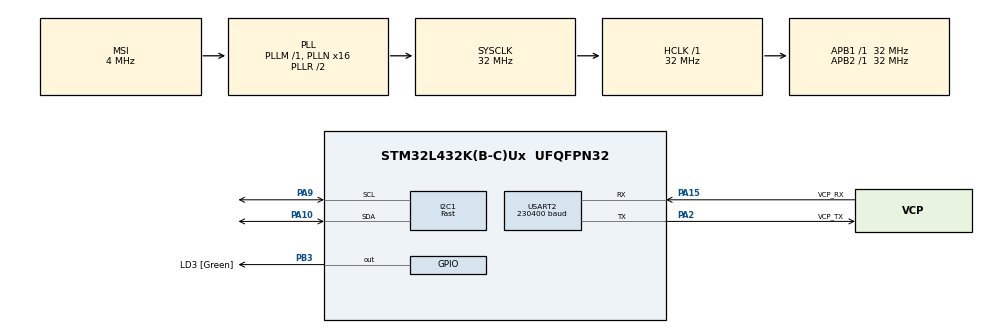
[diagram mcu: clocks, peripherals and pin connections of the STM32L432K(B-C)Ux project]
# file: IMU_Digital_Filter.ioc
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Dma.Request0=USART2_TX
Dma.USART2_TX.0.Direction=DMA_MEMORY_TO_PERIPH
Dma.USART2_TX.0.Instance=DMA1_Channel7
Dma.USART2_TX.0.MemDataAlignment=DMA_MDATAALIGN_BYTE
Dma.USART2_TX.0.MemInc=DMA_MINC_ENABLE
Dma.USART2_TX.0.Mode=DMA_NORMAL
Dma.USART2_TX.0.PeriphDataAlignment=DMA_PDATAALIGN_BYTE
Dma.USART2_TX.0.PeriphInc=DMA_PINC_DISABLE
Dma.USART2_TX.0.Priority=DMA_PRIORITY_LOW
FREERTOS.INCLUDE_vTaskDelayUntil=1
FREERTOS.MEMORY_ALLOCATION=2
FREERTOS.Tasks01=defaultTask,0,128,StartDefaultTask,Default,NULL,Static,defaultTaskBuffer,defaultTaskControlBlock;IMU,0,128,StartIMU,Default,NULL,Static,IMUBuffer,IMUControlBlock;TX,2,128,StartTX,Default,NULL,Static,TXBuffer,TXControlBlock
I2C1.I2C_Speed_Mode=I2C_Fast
I2C1.Timing=0x00300F38
Mcu.Family=STM32L4
Mcu.Name=STM32L432K(B-C)Ux
Mcu.Package=UFQFPN32
NVIC.DMA1_Channel7_IRQn=true\:5\:0\:false\:false\:true\:true\:false
NVIC.I2C1_EV_IRQn=true\:5\:0\:false\:false\:true\:true\:true
NVIC.PriorityGroup=NVIC_PRIORITYGROUP_4
NVIC.TIM1_UP_TIM16_IRQn=true\:0\:0\:false\:false\:true\:false\:false
NVIC.TimeBase=TIM1_UP_TIM16_IRQn
NVIC.TimeBaseIP=TIM1
PA0.GPIO_Label=MCO [High speed clock in]
PA0.Mode=HSE-External-Clock-Source-for-LittleOrca
PA0.Signal=RCC_CK_IN
PA10.Mode=I2C
PA10.Signal=I2C1_SDA
PA13\ (JTMS-SWDIO).GPIO_Label=SWDIO
PA13\ (JTMS-SWDIO).Mode=Serial_Wire
PA13\ (JTMS-SWDIO).Signal=SYS_JTMS-SWDIO
PA14\ (JTCK-SWCLK).GPIO_Label=SWCLK
PA14\ (JTCK-SWCLK).Mode=Serial_Wire
PA14\ (JTCK-SWCLK).Signal=SYS_JTCK-SWCLK
PA15\ (JTDI).GPIO_Label=VCP_RX
PA15\ (JTDI).Mode=Asynchronous
PA15\ (JTDI).Signal=USART2_RX
PA2.GPIO_Label=VCP_TX
PA2.Mode=Asynchronous
PA2.Signal=USART2_TX
PA9.Mode=I2C
PA9.Signal=I2C1_SCL
PB3\ (JTDO-TRACESWO).GPIO_Label=LD3 [Green]
PB3\ (JTDO-TRACESWO).Signal=GPIO_Output
PC14-OSC32_IN\ (PC14).Mode=LSE-External-Oscillator
PC14-OSC32_IN\ (PC14).Signal=RCC_OSC32_IN
PC15-OSC32_OUT\ (PC15).Mode=LSE-External-Oscillator
PC15-OSC32_OUT\ (PC15).Signal=RCC_OSC32_OUT
ProjectManager.HeapSize=0x200
ProjectManager.StackSize=0x400
ProjectManager.TargetToolchain=SW4STM32
RCC.AHBFreq_Value=32000000
RCC.APB1Freq_Value=32000000
RCC.APB1TimFreq_Value=32000000
RCC.APB2Freq_Value=32000000
RCC.APB2TimFreq_Value=32000000
RCC.CortexFreq_Value=32000000
RCC.HCLKFreq_Value=32000000
RCC.HSE_VALUE=8000000
RCC.HSI16_VALUE=16000000
RCC.HSI48_VALUE=48000000
RCC.HSI_VALUE=16000000
RCC.MSI_VALUE=4000000
RCC.PLLMUL=RCC_PLLMUL_4
RCC.PLLN=16
RCC.SYSCLKFreq_VALUE=32000000
RCC.SYSCLKSource=RCC_SYSCLKSOURCE_PLLCLK
RCC.VCOOutputFreq_Value=64000000
USART2.BaudRate=230400
USART2.VirtualMode-Asynchronous=VM_ASYNC
VP_FREERTOS_VS_ENABLE.Mode=Enabled
VP_SYS_VS_tim1.Mode=TIM1
board=NUCLEO-L432KC

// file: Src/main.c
/**
  ******************************************************************************
  * @file           : main.c
  * @brief          : Main program body
  ******************************************************************************
  * This notice applies to any and all portions of this file
  * that are not between comment pairs USER CODE BEGIN and
  * USER CODE END. Other portions of this file, whether
  * inserted by the user or by software development tools
  * are owned by their respective copyright owners.
  *
  * Copyright (c) 2018 STMicroelectronics International N.V.
  * All rights reserved.
  *
  * Redistribution and use in source and binary forms, with or without
  * modification, are permitted, provided that the following conditions are met:
  *
  * 1. Redistribution of source code must retain the above copyright notice,
  *    this list of conditions and the following disclaimer.
  * 2. Redistributions in binary form must reproduce the above copyright notice,
  *    this list of conditions and the following disclaimer in the documentation
  *    and/or other materials provided with the distribution.
  * 3. Neither the name of STMicroelectronics nor the names of other
  *    contributors to this software may be used to endorse or promote products
  *    derived from this software without specific written permission.
  * 4. This software, including modifications and/or derivative works of this
  *    software, must execute solely and exclusively on microcontroller or
  *    microprocessor devices manufactured by or for STMicroelectronics.
  * 5. Redistribution and use of this software other than as permitted under
  *    this license is void and will automatically terminate your rights under
  *    this license.
  *
  * THIS SOFTWARE IS PROVIDED BY STMICROELECTRONICS AND CONTRIBUTORS "AS IS"
  * AND ANY EXPRESS, IMPLIED OR STATUTORY WARRANTIES, INCLUDING, BUT NOT
  * LIMITED TO, THE IMPLIED WARRANTIES OF MERCHANTABILITY, FITNESS FOR A
  * PARTICULAR PURPOSE AND NON-INFRINGEMENT OF THIRD PARTY INTELLECTUAL PROPERTY
  * RIGHTS ARE DISCLAIMED TO THE FULLEST EXTENT PERMITTED BY LAW. IN NO EVENT
  * SHALL STMICROELECTRONICS OR CONTRIBUTORS BE LIABLE FOR ANY DIRECT, INDIRECT,
  * INCIDENTAL, SPECIAL, EXEMPLARY, OR CONSEQUENTIAL DAMAGES (INCLUDING, BUT NOT
  * LIMITED TO, PROCUREMENT OF SUBSTITUTE GOODS OR SERVICES; LOSS OF USE, DATA,
  * OR PROFITS; OR BUSINESS INTERRUPTION) HOWEVER CAUSED AND ON ANY THEORY OF
  * LIABILITY, WHETHER IN CONTRACT, STRICT LIABILITY, OR TORT (INCLUDING
  * NEGLIGENCE OR OTHERWISE) ARISING IN ANY WAY OUT OF THE USE OF THIS SOFTWARE,
  * EVEN IF ADVISED OF THE POSSIBILITY OF SUCH DAMAGE.
  *
  ******************************************************************************
  */
#include "main.h"
#include "stm32l4xx_hal.h"
#include "cmsis_os.h"
#include "dma.h"
#include "i2c.h"
#include "usart.h"
#include "gpio.h"

/* USER CODE BEGIN PV */
/* Private variables ---------------------------------------------------------*/

/* USER CODE END PV */

void SystemClock_Config(void);
void MX_FREERTOS_Init(void);

/* USER CODE BEGIN PFP */
/* Private function prototypes -----------------------------------------------*/

/* USER CODE END PFP */

int main(void)
{

  /* MCU Configuration----------------------------------------------------------*/

  /* Reset of all peripherals, Initializes the Flash interface and the Systick. */
  HAL_Init();

  /* Configure the system clock */
  SystemClock_Config();

  /* Initialize all configured peripherals */
  MX_GPIO_Init();
  MX_DMA_Init();
  MX_USART2_UART_Init();
  MX_I2C1_Init();

  /* Call init function for freertos objects (in freertos.c) */
  MX_FREERTOS_Init();

  /* Start scheduler */
  osKernelStart();

  /* We should never get here as control is now taken by the scheduler */

  /* Infinite loop */
  while (1)
  {

  }

}

void SystemClock_Config(void)
{

  RCC_OscInitTypeDef RCC_OscInitStruct;
  RCC_ClkInitTypeDef RCC_ClkInitStruct;
  RCC_PeriphCLKInitTypeDef PeriphClkInit;

    /**Configure LSE Drive Capability
    */
  HAL_PWR_EnableBkUpAccess();

  __HAL_RCC_LSEDRIVE_CONFIG(RCC_LSEDRIVE_LOW);

    /**Initializes the CPU, AHB and APB busses clocks
    */
  RCC_OscInitStruct.OscillatorType = RCC_OSCILLATORTYPE_LSE|RCC_OSCILLATORTYPE_MSI;
  RCC_OscInitStruct.LSEState = RCC_LSE_ON;
  RCC_OscInitStruct.MSIState = RCC_MSI_ON;
  RCC_OscInitStruct.MSICalibrationValue = 0;
  RCC_OscInitStruct.MSIClockRange = RCC_MSIRANGE_6;
  RCC_OscInitStruct.PLL.PLLState = RCC_PLL_ON;
  RCC_OscInitStruct.PLL.PLLSource = RCC_PLLSOURCE_MSI;
  RCC_OscInitStruct.PLL.PLLM = 1;
  RCC_OscInitStruct.PLL.PLLN = 16;
  RCC_OscInitStruct.PLL.PLLP = RCC_PLLP_DIV7;
  RCC_OscInitStruct.PLL.PLLQ = RCC_PLLQ_DIV2;
  RCC_OscInitStruct.PLL.PLLR = RCC_PLLR_DIV2;
  if (HAL_RCC_OscConfig(&RCC_OscInitStruct) != HAL_OK)
  {
    _Error_Handler(__FILE__, __LINE__);
  }

    /**Initializes the CPU, AHB and APB busses clocks
    */
  RCC_ClkInitStruct.ClockType = RCC_CLOCKTYPE_HCLK|RCC_CLOCKTYPE_SYSCLK
                              |RCC_CLOCKTYPE_PCLK1|RCC_CLOCKTYPE_PCLK2;
  RCC_ClkInitStruct.SYSCLKSource = RCC_SYSCLKSOURCE_PLLCLK;
  RCC_ClkInitStruct.AHBCLKDivider = RCC_SYSCLK_DIV1;
  RCC_ClkInitStruct.APB1CLKDivider = RCC_HCLK_DIV1;
  RCC_ClkInitStruct.APB2CLKDivider = RCC_HCLK_DIV1;

  if (HAL_RCC_ClockConfig(&RCC_ClkInitStruct, FLASH_LATENCY_1) != HAL_OK)
  {
    _Error_Handler(__FILE__, __LINE__);
  }

  PeriphClkInit.PeriphClockSelection = RCC_PERIPHCLK_USART2|RCC_PERIPHCLK_I2C1;
  PeriphClkInit.Usart2ClockSelection = RCC_USART2CLKSOURCE_PCLK1;
  PeriphClkInit.I2c1ClockSelection = RCC_I2C1CLKSOURCE_PCLK1;
  if (HAL_RCCEx_PeriphCLKConfig(&PeriphClkInit) != HAL_OK)
  {
    _Error_Handler(__FILE__, __LINE__);
  }

    /**Configure the main internal regulator output voltage
    */
  if (HAL_PWREx_ControlVoltageScaling(PWR_REGULATOR_VOLTAGE_SCALE1) != HAL_OK)
  {
    _Error_Handler(__FILE__, __LINE__);
  }

    /**Configure the Systick interrupt time
    */
  HAL_SYSTICK_Config(HAL_RCC_GetHCLKFreq()/1000);

    /**Configure the Systick
    */
  HAL_SYSTICK_CLKSourceConfig(SYSTICK_CLKSOURCE_HCLK);

    /**Enable MSI Auto calibration
    */
  HAL_RCCEx_EnableMSIPLLMode();

  /* SysTick_IRQn interrupt configuration */
  HAL_NVIC_SetPriority(SysTick_IRQn, 15, 0);
}

void HAL_TIM_PeriodElapsedCallback(TIM_HandleTypeDef *htim)
{
  if (htim->Instance == TIM1) {
    HAL_IncTick();
  }
}

void _Error_Handler(char *file, int line)
{
  while(1)
  {
  }
}

/************************ (C) COPYRIGHT STMicroelectronics *****END OF FILE****/

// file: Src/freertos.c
/**
  ******************************************************************************
  * File Name          : freertos.c
  * Description        : Code for freertos applications
  ******************************************************************************
  * This notice applies to any and all portions of this file
  * that are not between comment pairs USER CODE BEGIN and
  * USER CODE END. Other portions of this file, whether
  * inserted by the user or by software development tools
  * are owned by their respective copyright owners.
  *
  * Copyright (c) 2018 STMicroelectronics International N.V.
  * All rights reserved.
  *
  * Redistribution and use in source and binary forms, with or without
  * modification, are permitted, provided that the following conditions are met:
  *
  * 1. Redistribution of source code must retain the above copyright notice,
  *    this list of conditions and the following disclaimer.
  * 2. Redistributions in binary form must reproduce the above copyright notice,
  *    this list of conditions and the following disclaimer in the documentation
  *    and/or other materials provided with the distribution.
  * 3. Neither the name of STMicroelectronics nor the names of other
  *    contributors to this software may be used to endorse or promote products
  *    derived from this software without specific written permission.
  * 4. This software, including modifications and/or derivative works of this
  *    software, must execute solely and exclusively on microcontroller or
  *    microprocessor devices manufactured by or for STMicroelectronics.
  * 5. Redistribution and use of this software other than as permitted under
  *    this license is void and will automatically terminate your rights under
  *    this license.
  *
  * THIS SOFTWARE IS PROVIDED BY STMICROELECTRONICS AND CONTRIBUTORS "AS IS"
  * AND ANY EXPRESS, IMPLIED OR STATUTORY WARRANTIES, INCLUDING, BUT NOT
  * LIMITED TO, THE IMPLIED WARRANTIES OF MERCHANTABILITY, FITNESS FOR A
  * PARTICULAR PURPOSE AND NON-INFRINGEMENT OF THIRD PARTY INTELLECTUAL PROPERTY
  * RIGHTS ARE DISCLAIMED TO THE FULLEST EXTENT PERMITTED BY LAW. IN NO EVENT
  * SHALL STMICROELECTRONICS OR CONTRIBUTORS BE LIABLE FOR ANY DIRECT, INDIRECT,
  * INCIDENTAL, SPECIAL, EXEMPLARY, OR CONSEQUENTIAL DAMAGES (INCLUDING, BUT NOT
  * LIMITED TO, PROCUREMENT OF SUBSTITUTE GOODS OR SERVICES; LOSS OF USE, DATA,
  * OR PROFITS; OR BUSINESS INTERRUPTION) HOWEVER CAUSED AND ON ANY THEORY OF
  * LIABILITY, WHETHER IN CONTRACT, STRICT LIABILITY, OR TORT (INCLUDING
  * NEGLIGENCE OR OTHERWISE) ARISING IN ANY WAY OUT OF THE USE OF THIS SOFTWARE,
  * EVEN IF ADVISED OF THE POSSIBILITY OF SUCH DAMAGE.
  *
  ******************************************************************************
  */

#include "FreeRTOS.h"
#include "task.h"
#include "cmsis_os.h"

/* USER CODE BEGIN Includes */
#include "../Drivers/MPU6050/MPU6050.h"
#include "sharedMacros.h"
#include "../Drivers/MPU6050/MPUFilter.h"

typedef struct{
    float ax;
    float ay;
    float az;
    float vx;
    float vy;
    float vz;
}IMUData_t;
/* USER CODE END Includes */

osThreadId defaultTaskHandle;
uint32_t defaultTaskBuffer[ 512 ];
osStaticThreadDef_t defaultTaskControlBlock;
osThreadId IMUHandle;
uint32_t IMUBuffer[ 512 ];
osStaticThreadDef_t IMUControlBlock;
osThreadId TXHandle;
uint32_t TXBuffer[ 512 ];
osStaticThreadDef_t TXControlBlock;
osMessageQId pcQueueHandle;
uint8_t pcQueueBuffer[ 1 * sizeof( IMUData_t ) ];
osStaticMessageQDef_t pcQueueControlBlock;

/* USER CODE BEGIN Variables */
MPU6050_HandleTypeDef IMUdata;
/* USER CODE END Variables */

void StartDefaultTask(void const * argument);
void StartIMU(void const * argument);
void StartTX(void const * argument);

void MX_FREERTOS_Init(void); /* (MISRA C 2004 rule 8.1) */

/* GetIdleTaskMemory prototype (linked to static allocation support) */
void vApplicationGetIdleTaskMemory( StaticTask_t **ppxIdleTaskTCBBuffer, StackType_t **ppxIdleTaskStackBuffer, uint32_t *pulIdleTaskStackSize );

/* Hook prototypes */

/* USER CODE BEGIN GET_IDLE_TASK_MEMORY */
static StaticTask_t xIdleTaskTCBBuffer;
static StackType_t xIdleStack[configMINIMAL_STACK_SIZE];

void vApplicationGetIdleTaskMemory( StaticTask_t **ppxIdleTaskTCBBuffer, StackType_t **ppxIdleTaskStackBuffer, uint32_t *pulIdleTaskStackSize )
{
  *ppxIdleTaskTCBBuffer = &xIdleTaskTCBBuffer;
  *ppxIdleTaskStackBuffer = &xIdleStack[0];
  *pulIdleTaskStackSize = configMINIMAL_STACK_SIZE;
  /* place for user code */
}
/* USER CODE END GET_IDLE_TASK_MEMORY */

/* Init FreeRTOS */

void MX_FREERTOS_Init(void) {

  /* Create the thread(s) */
  /* definition and creation of defaultTask */
  osThreadStaticDef(defaultTask, StartDefaultTask, osPriorityNormal, 0, 512, defaultTaskBuffer, &defaultTaskControlBlock);
  defaultTaskHandle = osThreadCreate(osThread(defaultTask), NULL);

  /* definition and creation of IMU */
  osThreadStaticDef(IMU, StartIMU, osPriorityNormal, 0, 512, IMUBuffer, &IMUControlBlock);
  IMUHandle = osThreadCreate(osThread(IMU), NULL);

  /* definition and creation of TX */
  osThreadStaticDef(TX, StartTX, osPriorityHigh, 0, 512, TXBuffer, &TXControlBlock);
  TXHandle = osThreadCreate(osThread(TX), NULL);

  /* Create the queue(s) */
  /* definition and creation of pcQueue */
  osMessageQStaticDef(pcQueue, 1, IMUData_t, pcQueueBuffer, &pcQueueControlBlock);
  pcQueueHandle = osMessageCreate(osMessageQ(pcQueue), NULL);

}

/* StartDefaultTask function */
void StartDefaultTask(void const * argument)
{

    for(;;)
    {
      osDelay(1);
    }
}

/* StartIMU function */
void StartIMU(void const * argument)
{
  /* USER CODE BEGIN StartIMU */
  TickType_t xLastWakeTime;
  xLastWakeTime = xTaskGetTickCount();

  const TickType_t IMU_CYCLE_TIME_MS = 2;
  uint8_t i = 0;

  IMUdata._I2C_Handle = &hi2c1;
  MPU6050_init(&IMUdata);
  MPU6050_manually_set_offsets(&IMUdata);
  MPU6050_set_LPF(&IMUdata, 4);

  IMUData_t data;

  MPUFilter_InitAllFilters();

  /* Infinite loop */
  for(;;)
  {
      // Service this thread every 2 ms for a 500 Hz sample rate
      vTaskDelayUntil(&xLastWakeTime, pdMS_TO_TICKS(IMU_CYCLE_TIME_MS));

      MPU6050_Read_Accelerometer_Withoffset_IT(&IMUdata); // Also updates pitch and roll
      MPUFilter_FilterAcceleration(&IMUdata);

      // Gyroscope data is much more volatile/sensitive to changes than
      // acceleration data. To compensate, we feed in samples to the filter
      // slower. Good DSP practise? Not sure. To compensate for the high
      // delays, we also use a filter with fewer taps than the acceleration
      // filters. Ideally: we would sample faster to reduce aliasing, then
      // use a filter with a smaller cutoff frequency. However, the filter
      // designer we are using does not allow us to generate such filters in
      // the free version, so this is the best we can do unless we use other
      // software.
      if(i % 16 == 0){
          MPU6050_Read_Gyroscope_Withoffset_IT(&IMUdata);
          MPUFilter_FilterAngularVelocity(&IMUdata);
      }
      i++;

      data.ax = IMUdata._X_ACCEL;
      data.ay = IMUdata._Y_ACCEL;
      data.az = IMUdata._Z_ACCEL;

      data.vx = IMUdata._X_GYRO;
      data.vy = IMUdata._Y_GYRO;
      data.vz = IMUdata._Z_GYRO;

      xQueueOverwrite(pcQueueHandle, &data);
    }
  /* USER CODE END StartIMU */
}

/* StartTX function */
void StartTX(void const * argument)
{
  /* USER CODE BEGIN StartTX */
  IMUData_t recvData = {0};
  uint8_t packet[24] = {0};

  const uint8_t ax_off = 0;
  const uint8_t ay_off = 4;
  const uint8_t az_off = 8;
  const uint8_t vx_off = 12;
  const uint8_t vy_off = 16;
  const uint8_t vz_off = 20;

  volatile int8_t val = 0;

  uint32_t notification;

  TickType_t xLastWakeTime;
  xLastWakeTime = xTaskGetTickCount();

  /* Infinite loop */
  for(;;)
  {
      while(xQueueReceive(pcQueueHandle, &recvData, portMAX_DELAY) != pdTRUE);

      // Service this thread every 10 ms
      vTaskDelayUntil(&xLastWakeTime, pdMS_TO_TICKS(5));

      memcpy(packet, &recvData, 6 * sizeof(float));

      switch(val){
          case 0:
              HAL_UART_Transmit_DMA(&huart2, &packet[ax_off], sizeof(float));
              break;
          case 1:
              HAL_UART_Transmit_DMA(&huart2, &packet[ay_off], sizeof(float));
              break;
          case 2:
              HAL_UART_Transmit_DMA(&huart2, &packet[az_off], sizeof(float));
              break;
          case 3:
              HAL_UART_Transmit_DMA(&huart2, &packet[vx_off], sizeof(float));
              break;
          case 4:
              HAL_UART_Transmit_DMA(&huart2, &packet[vy_off], sizeof(float));
              break;
          case 5:
              HAL_UART_Transmit_DMA(&huart2, &packet[vz_off], sizeof(float));
              break;
          default:
              break;
      }

      do{
          xTaskNotifyWait(0, NOTIFIED_FROM_TX_ISR, &notification, portMAX_DELAY);
      }while((notification & NOTIFIED_FROM_TX_ISR) != NOTIFIED_FROM_TX_ISR);
  }
  /* USER CODE END StartTX */
}

/* USER CODE BEGIN Application */
void HAL_I2C_MemRxCpltCallback(I2C_HandleTypeDef *hi2c)
{
    // This callback runs after the interrupt data transfer from the sensor to the mcu is finished
    BaseType_t xHigherPriorityTaskWoken = pdFALSE;
    xTaskNotifyFromISR(IMUHandle, NOTIFIED_FROM_RX_ISR, eSetBits, &xHigherPriorityTaskWoken);
    portYIELD_FROM_ISR(xHigherPriorityTaskWoken);
}

void HAL_UART_TxCpltCallback(UART_HandleTypeDef* huart){
    BaseType_t xHigherPriorityTaskWoken = pdFALSE;
    if(huart == &huart2){
        xTaskNotifyFromISR(TXHandle, NOTIFIED_FROM_TX_ISR, eSetBits, &xHigherPriorityTaskWoken);
    }
    portYIELD_FROM_ISR(xHigherPriorityTaskWoken);
}
/* USER CODE END Application */

/************************ (C) COPYRIGHT STMicroelectronics *****END OF FILE****/
